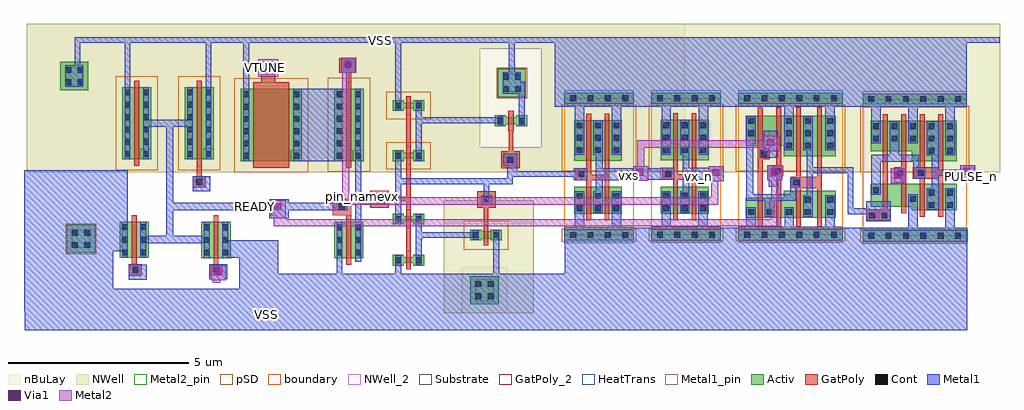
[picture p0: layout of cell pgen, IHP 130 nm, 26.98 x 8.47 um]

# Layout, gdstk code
from math import pi, radians
import gdstk
lib = gdstk.Library(unit=1e-6, precision=1e-09)
def R(c, l, rs):  # rectangles x0, y0, x1, y1
    for r in rs: c.add(gdstk.rectangle(r[:2], r[2:], *l))
def A(c, l, x, y, w, h, nx, ny, dx, dy):  # array of equal rectangles
    R(c, l, [(x+i*dx, y+j*dy, x+i*dx+w, y+j*dy+h) for i in range(nx) for j in range(ny)])
def P(c, l, *ps):  # polygons
    for p in ps: c.add(gdstk.Polygon(p, *l))
Activ = (1, 0)
GatPoly = (5, 0)
GatPoly_2 = (5, 2)
Cont = (6, 0)
Metal1 = (8, 0)
Metal1_pin = (8, 2)
Metal2 = (10, 0)
Metal2_pin = (10, 2)
pSD = (14, 0)
Via1 = (19, 0)
NWell = (31, 0)
NWell_2 = (31, 2)
nBuLay = (32, 0)
Substrate = (40, 0)
HeatTrans = (51, 0)
boundary = (189, 4)

pmos = lib.new_cell('pmos')
R(pmos, Activ, [(0,0,0.3,0.3), (0,0,0.81,2), (0.51,0,0.81,0.3)])
R(pmos, GatPoly, [(0.34,-0.18,0.47,2.18), (0.34,-0.18,0.47,2.18)])
A(pmos, Cont, 0.07, 0.07, 0.16, 0.16, 1, 6, 0, 0.34)
A(pmos, Cont, 0.58, 0.07, 0.16, 0.16, 1, 6, 0, 0.34)
R(pmos, Metal1, [(0.07,0,0.23,2), (0.07,0,0.23,2), (0.58,0,0.74,2), (0.58,0,0.74,2)])
R(pmos, pSD, [(-0.18,-0.3,0.99,2.3)])
R(pmos, NWell, [(-0.31,-0.31,1.12,2.31)])
R(pmos, Substrate, [(0.51,0,0.81,0.3)])
R(pmos, HeatTrans, [(0.34,-0.18,0.47,2.18)])
pmos.add(gdstk.Label('pmos', (0.405,1), layer=63, texttype=0))
pmos.add(gdstk.Label('pmos', (0.405,1), layer=51, texttype=0))

nmos = lib.new_cell('nmos')
R(nmos, Activ, [(0,0,0.3,0.3), (0,0,0.81,1), (0.51,0,0.81,0.3)])
R(nmos, GatPoly, [(0.34,-0.18,0.47,1.18)])
R(nmos, GatPoly_2, [(0.34,-0.18,0.47,1.18)])
A(nmos, Cont, 0.07, 0.07, 0.16, 0.16, 1, 3, 0, 0.35)
A(nmos, Cont, 0.58, 0.07, 0.16, 0.16, 1, 3, 0, 0.35)
R(nmos, Metal1, [(0.07,0,0.23,1), (0.58,0,0.74,1)])
R(nmos, Metal1_pin, [(0.07,0,0.23,1), (0.58,0,0.74,1)])
R(nmos, HeatTrans, [(0.34,-0.18,0.47,1.18)])
nmos.add(gdstk.Label('nmos', (0.405,0.5), layer=63, texttype=0))
nmos.add(gdstk.Label('nmos', (0.405,0.5), layer=51, texttype=0))

pmos_2 = lib.new_cell('pmos$2')
R(pmos_2, Activ, [(0,0,0.3,0.3), (0.57,0,0.87,0.3), (0,0.075,0.87,0.225)])
R(pmos_2, GatPoly, [(0.37,-0.105,0.5,0.405), (0.37,-0.105,0.5,0.405)])
R(pmos_2, Cont, [(0.07,0.07,0.23,0.23), (0.64,0.07,0.8,0.23)])
R(pmos_2, Metal1, [(0.07,0.02,0.23,0.28), (0.07,0.02,0.23,0.28), (0.64,0.02,0.8,0.28), (0.64,0.02,0.8,0.28)])
R(pmos_2, pSD, [(-0.18,-0.225,1.05,0.525)])
R(pmos_2, NWell, [(-0.31,-0.31,1.18,0.61)])
R(pmos_2, Substrate, [(0.57,0,0.87,0.3)])
R(pmos_2, HeatTrans, [(0.37,-0.105,0.5,0.405)])
pmos_2.add(gdstk.Label('pmos', (0.435,0.15), layer=63, texttype=0))
pmos_2.add(gdstk.Label('pmos', (0.435,0.15), layer=51, texttype=0))

nmos_1 = lib.new_cell('nmos$1')
R(nmos_1, Activ, [(0,0,0.3,0.3), (0.57,0,0.87,0.3), (0,0.075,0.87,0.225)])
R(nmos_1, GatPoly, [(0.37,-0.105,0.5,0.405)])
R(nmos_1, GatPoly_2, [(0.37,-0.105,0.5,0.405)])
R(nmos_1, Cont, [(0.07,0.07,0.23,0.23), (0.64,0.07,0.8,0.23)])
R(nmos_1, Metal1, [(0.07,0.02,0.23,0.28), (0.64,0.02,0.8,0.28)])
R(nmos_1, Metal1_pin, [(0.07,0.02,0.23,0.28), (0.64,0.02,0.8,0.28)])
R(nmos_1, HeatTrans, [(0.37,-0.105,0.5,0.405)])
nmos_1.add(gdstk.Label('nmos', (0.435,0.15), layer=63, texttype=0))
nmos_1.add(gdstk.Label('nmos', (0.435,0.15), layer=51, texttype=0))

sg13g2_and2_2 = lib.new_cell('sg13g2_and2_2')
R(sg13g2_and2_2, Activ, [(0,-0.15,2.88,0.15), (0,3.63,2.88,3.93)])
P(sg13g2_and2_2, Activ, [(1.355,0.7),(1.355,0.8),(0.225,0.8),(0.225,1.44),(2.605,1.44),(2.605,0.7)],
  [(1.355,2.06),(1.355,2.34),(0.225,2.34),(0.225,3.18),(2.605,3.18),(2.605,2.06)])
P(sg13g2_and2_2, GatPoly, [(1.585,0.52),(1.585,1.57),(1.385,1.57),(1.385,1.9),(1.585,1.9),(1.585,3.36),(1.715,3.36),(1.715,1.9),(2.095,1.9),(2.095,3.36),(2.225,3.36),(2.225,0.52),(2.095,0.52),(2.095,1.57),(1.715,1.57),(1.715,0.52)],
  [(0.105,0.41),(0.105,0.73),(0.565,0.73),(0.565,3.36),(0.695,3.36),(0.695,0.73),(0.775,0.73),(0.775,0.41)],
  [(1.075,0.62),(1.075,1.57),(0.875,1.57),(0.875,1.9),(1.075,1.9),(1.075,3.36),(1.205,3.36),(1.205,0.62)])
A(sg13g2_and2_2, Cont, 0.16, -0.08, 0.16, 0.16, 6, 1, 0.48, 0)
A(sg13g2_and2_2, Cont, 0.295, 2.61, 0.16, 0.16, 5, 2, 0.51, 0.34)
A(sg13g2_and2_2, Cont, 1.6, 3.7, 0.16, 0.16, 3, 1, 0.48, 0)
R(sg13g2_and2_2, Cont, [(0.19,0.48,0.35,0.64), (0.53,0.48,0.69,0.64), (1.825,0.77,1.985,0.93), (2.335,0.77,2.495,0.93), (1.315,0.935,1.475,1.095), (1.825,1.11,1.985,1.27), (2.335,1.11,2.495,1.27), (0.295,1.18,0.455,1.34), (0.96,1.655,1.12,1.815), (1.53,1.655,1.69,1.815), (1.825,2.27,1.985,2.43), (2.335,2.27,2.495,2.43), (0.16,3.7,0.32,3.86), (0.16,3.7,0.32,3.86), (0.16,3.7,0.32,3.86), (0.64,3.7,0.8,3.86), (0.64,3.7,0.8,3.86), (1.12,3.7,1.28,3.86), (1.12,3.7,1.28,3.86), (1.6,3.7,1.76,3.86)])
R(sg13g2_and2_2, Metal1, [(0.105,0.405,0.78,0.96), (0.78,1.47,1.17,1.87)])
P(sg13g2_and2_2, Metal1, [(1.775,0.72),(1.775,1.32),(1.92,1.32),(1.92,2.22),(1.775,2.22),(1.775,3.16),(2.105,3.16),(2.105,0.72)],
  [(0,-0.22),(0,0.22),(1.265,0.22),(1.265,1.145),(1.525,1.145),(1.525,0.22),(2.285,0.22),(2.285,1.32),(2.545,1.32),(2.545,0.22),(2.88,0.22),(2.88,-0.22)],
  [(0.245,1.14),(0.245,2.24),(0.755,2.24),(0.755,3.16),(1.015,3.16),(1.015,2.24),(1.56,2.24),(1.56,1.9),(1.74,1.9),(1.74,1.57),(1.4,1.57),(1.4,2.05),(0.505,2.05),(0.505,1.14)],
  [(2.285,2.22),(2.285,3.56),(1.525,3.56),(1.525,2.56),(1.265,2.56),(1.265,3.56),(0.505,3.56),(0.505,2.56),(0.245,2.56),(0.245,3.56),(0,3.56),(0,4),(2.88,4),(2.88,3.56),(2.545,3.56),(2.545,2.22)])
R(sg13g2_and2_2, Metal1_pin, [(0,-0.22,2.88,0.22), (0.105,0.405,0.78,0.96), (0.78,1.47,1.17,1.87), (1.775,2.22,2.105,3.16), (0,3.56,2.88,4)])
R(sg13g2_and2_2, pSD, [(-0.07,-0.18,2.91,0.18), (-0.07,1.76,2.95,3.6)])
R(sg13g2_and2_2, NWell, [(-0.24,1.75,0.72,4.17), (-0.24,1.75,2.64,4.17), (2.16,1.75,3.12,4.17)])
R(sg13g2_and2_2, boundary, [(0,0,2.88,3.78)])
sg13g2_and2_2.add(gdstk.Label('X', (1.995,2.73), layer=8, texttype=25))
sg13g2_and2_2.add(gdstk.Label('VSS', (1.18,0), layer=8, texttype=25))
sg13g2_and2_2.add(gdstk.Label('VDD', (1.275,3.78), layer=8, texttype=25))
sg13g2_and2_2.add(gdstk.Label('B', (0.98,1.655), layer=8, texttype=25))
sg13g2_and2_2.add(gdstk.Label('A', (0.465,0.745), layer=8, texttype=25))

sg13g2_or2_2 = lib.new_cell('sg13g2_or2_2')
R(sg13g2_or2_2, Activ, [(0,-0.15,2.88,0.15), (0,3.63,2.88,3.93)])
P(sg13g2_or2_2, Activ, [(1.25,2.18),(1.25,2.46),(0.2,2.46),(0.2,3.3),(2.685,3.3),(2.685,2.18)],
  [(0.2,0.48),(0.2,1.03),(1.255,1.03),(1.255,1.22),(2.685,1.22),(2.685,0.48)])
P(sg13g2_or2_2, GatPoly, [(1.05,0.22),(1.05,1.615),(0.935,1.615),(0.935,1.915),(1.05,1.915),(1.05,3.525),(1.18,3.525),(1.18,1.915),(1.235,1.915),(1.235,1.615),(1.18,1.615),(1.18,0.22)],
  [(0.54,0.22),(0.54,3.52),(0.67,3.52),(0.67,2.39),(0.87,2.39),(0.87,2.09),(0.67,2.09),(0.67,0.22)],
  [(1.595,0.22),(1.595,1.3),(1.445,1.3),(1.445,1.6),(1.595,1.6),(1.595,3.53),(1.725,3.53),(1.725,1.6),(2.175,1.6),(2.175,3.53),(2.305,3.53),(2.305,0.22),(2.175,0.22),(2.175,1.29),(1.725,1.29),(1.725,0.22)])
A(sg13g2_or2_2, Cont, 0.16, -0.08, 0.16, 0.16, 6, 2, 0.48, 3.78)
A(sg13g2_or2_2, Cont, 1.32, 2.39, 0.16, 0.16, 1, 3, 0, 0.34)
A(sg13g2_or2_2, Cont, 1.84, 2.39, 0.16, 0.16, 1, 3, 0, 0.34)
A(sg13g2_or2_2, Cont, 2.455, 2.39, 0.16, 0.16, 1, 3, 0, 0.34)
R(sg13g2_or2_2, Cont, [(0.27,0.55,0.43,0.71), (0.78,0.55,0.94,0.71), (1.325,0.55,1.485,0.71), (1.835,0.55,1.995,0.71), (2.455,0.55,2.615,0.71), (1.835,0.89,1.995,1.05), (2.455,0.89,2.615,1.05), (1.515,1.37,1.675,1.53), (1.005,1.685,1.165,1.845), (0.635,2.16,0.795,2.32), (0.27,2.73,0.43,2.89), (0.27,3.07,0.43,3.23)])
P(sg13g2_or2_2, Metal1, [(1.785,0.5),(1.785,1.1),(1.885,1.1),(1.885,2.34),(1.79,2.34),(1.79,3.28),(2.05,3.28),(2.05,0.5)],
  [(0,-0.22),(0,0.22),(0.22,0.22),(0.22,0.76),(0.48,0.76),(0.48,0.22),(1.275,0.22),(1.275,0.76),(1.535,0.76),(1.535,0.22),(2.405,0.22),(2.405,1.1),(2.665,1.1),(2.665,0.22),(2.88,0.22),(2.88,-0.22)],
  [(0.84,1.335),(0.84,1.895),(1.215,1.895),(1.215,1.635),(1.085,1.635),(1.085,1.335)],
  [(0.73,0.5),(0.73,0.945),(0.22,0.945),(0.22,3.28),(0.48,3.28),(0.48,2.53),(0.405,2.53),(0.405,1.125),(1.425,1.125),(1.425,1.58),(1.705,1.58),(1.705,1.315),(1.595,1.315),(1.595,0.945),(0.99,0.945),(0.99,0.5)],
  [(0.585,2.13),(0.585,2.35),(0.84,2.35),(0.84,2.88),(1.085,2.88),(1.085,2.13)],
  [(1.27,2.34),(1.27,3.56),(0,3.56),(0,4),(2.88,4),(2.88,3.56),(2.665,3.56),(2.665,2.34),(2.405,2.34),(2.405,3.56),(1.53,3.56),(1.53,2.34)])
R(sg13g2_or2_2, Metal1_pin, [(0,-0.22,2.88,0.22), (0.84,1.335,1.085,1.895), (0.84,2.13,1.085,2.88), (1.79,2.34,2.05,3.28), (0,3.56,2.88,4)])
R(sg13g2_or2_2, pSD, [(-0.07,-0.18,2.95,0.18), (-0.07,1.76,2.95,3.6)])
R(sg13g2_or2_2, NWell, [(-0.24,1.75,3.12,4.17)])
R(sg13g2_or2_2, boundary, [(0,0,2.88,3.78)])
sg13g2_or2_2.add(gdstk.Label('B', (0.96,2.52), layer=8, texttype=25))
sg13g2_or2_2.add(gdstk.Label('VSS', (1.43,-0.005), layer=8, texttype=25))
sg13g2_or2_2.add(gdstk.Label('A', (0.96,1.68), layer=8, texttype=25))
sg13g2_or2_2.add(gdstk.Label('X', (1.92,2.52), layer=8, texttype=25))
sg13g2_or2_2.add(gdstk.Label('VDD', (1.435,3.78), layer=8, texttype=25))

sg13g2_inv_2 = lib.new_cell('sg13g2_inv_2')
R(sg13g2_inv_2, Activ, [(0,-0.15,1.92,0.15), (0.265,0.59,1.585,1.33), (0.265,2.06,1.59,3.18), (0,3.63,1.92,3.93)])
P(sg13g2_inv_2, GatPoly, [(0.605,0.41),(0.605,1.52),(0.305,1.52),(0.305,1.85),(0.605,1.85),(0.605,3.36),(0.735,3.36),(0.735,1.67),(1.115,1.67),(1.115,3.36),(1.245,3.36),(1.245,0.41),(1.115,0.41),(1.115,1.52),(0.735,1.52),(0.735,0.41)])
A(sg13g2_inv_2, Cont, 0.335, 0.66, 0.16, 0.16, 3, 2, 0.51, 0.34)
A(sg13g2_inv_2, Cont, 0.335, 2.27, 0.16, 0.16, 1, 3, 0, 0.34)
A(sg13g2_inv_2, Cont, 0.845, 2.27, 0.16, 0.16, 1, 3, 0, 0.34)
A(sg13g2_inv_2, Cont, 1.36, 2.27, 0.16, 0.16, 1, 3, 0, 0.34)
R(sg13g2_inv_2, Cont, [(0.16,-0.08,0.32,0.08), (0.16,-0.08,0.32,0.08), (0.64,-0.08,0.8,0.08), (0.64,-0.08,0.8,0.08), (1.12,-0.08,1.28,0.08), (1.12,-0.08,1.28,0.08), (1.6,-0.08,1.76,0.08), (1.6,-0.08,1.76,0.08), (0.39,1.605,0.55,1.765), (0.16,3.7,0.32,3.86), (0.16,3.7,0.32,3.86), (0.64,3.7,0.8,3.86), (0.64,3.7,0.8,3.86), (1.12,3.7,1.28,3.86), (1.12,3.7,1.28,3.86), (1.6,3.7,1.76,3.86), (1.6,3.7,1.76,3.86)])
R(sg13g2_inv_2, Metal1, [(0.255,1.52,0.635,1.85)])
P(sg13g2_inv_2, Metal1, [(0.285,2.22),(0.285,3.56),(0,3.56),(0,4),(1.92,4),(1.92,3.56),(1.57,3.56),(1.57,2.22),(1.31,2.22),(1.31,3.56),(0.545,3.56),(0.545,2.22)],
  [(0,-0.22),(0,0.22),(0.285,0.22),(0.285,1.21),(0.545,1.21),(0.545,0.22),(1.305,0.22),(1.305,1.21),(1.565,1.21),(1.565,0.22),(1.92,0.22),(1.92,-0.22)],
  [(0.795,0.61),(0.795,1.21),(0.87,1.21),(0.87,2.22),(0.795,2.22),(0.795,3.18),(1.055,3.18),(1.055,1.85),(1.59,1.85),(1.59,1.52),(1.055,1.52),(1.055,0.61)])
R(sg13g2_inv_2, Metal1_pin, [(0,-0.22,1.92,0.22), (0.255,1.52,0.635,1.85), (0.87,1.52,1.59,1.85), (0,3.56,1.92,4)])
R(sg13g2_inv_2, pSD, [(-0.07,-0.18,1.99,0.18), (-0.07,1.76,1.99,3.6)])
R(sg13g2_inv_2, NWell, [(-0.24,1.75,2.16,4.17)])
R(sg13g2_inv_2, boundary, [(0,0,1.92,3.78)])
sg13g2_inv_2.add(gdstk.Label('VSS', (0.89,0), layer=8, texttype=25))
sg13g2_inv_2.add(gdstk.Label('VDD', (0.935,3.785), layer=8, texttype=25))
sg13g2_inv_2.add(gdstk.Label('Y', (1.44,1.68), layer=8, texttype=25))
sg13g2_inv_2.add(gdstk.Label('A', (0.48,1.68), layer=8, texttype=25))

pmos_1 = lib.new_cell('pmos$1')
R(pmos_1, Activ, [(0,0,0.3,0.3), (0,0,1.68,2), (1.38,0,1.68,0.3)])
R(pmos_1, GatPoly, [(0.34,-0.18,1.34,2.18), (0.34,-0.18,1.34,2.18)])
A(pmos_1, Cont, 0.07, 0.07, 0.16, 0.16, 1, 6, 0, 0.34)
A(pmos_1, Cont, 1.45, 0.07, 0.16, 0.16, 1, 6, 0, 0.34)
R(pmos_1, Metal1, [(0.07,0,0.23,2), (0.07,0,0.23,2), (1.45,0,1.61,2), (1.45,0,1.61,2)])
R(pmos_1, pSD, [(-0.18,-0.3,1.86,2.3)])
R(pmos_1, NWell, [(-0.31,-0.31,1.99,2.31)])
R(pmos_1, Substrate, [(1.38,0,1.68,0.3)])
R(pmos_1, HeatTrans, [(0.34,-0.18,1.34,2.18)])
pmos_1.add(gdstk.Label('pmos', (0.84,1), layer=63, texttype=0))
pmos_1.add(gdstk.Label('pmos', (0.84,1), layer=51, texttype=0))

via_stack_1 = lib.new_cell('via_stack$1')
R(via_stack_1, Metal1, [(-0.145,-0.145,0.145,0.145)])
R(via_stack_1, Metal2, [(-0.145,-0.145,0.145,0.145)])
R(via_stack_1, Via1, [(-0.095,-0.095,0.095,0.095)])

pmos_3 = lib.new_cell('pmos$3')
R(pmos_3, Activ, [(0,0,0.3,0.3), (0.57,0,0.87,0.3), (0,0.05,0.87,0.25)])
R(pmos_3, GatPoly, [(0.37,-0.13,0.5,0.43), (0.37,-0.13,0.5,0.43)])
R(pmos_3, Cont, [(0.07,0.07,0.23,0.23), (0.64,0.07,0.8,0.23)])
R(pmos_3, Metal1, [(0.07,0.02,0.23,0.28), (0.07,0.02,0.23,0.28), (0.64,0.02,0.8,0.28), (0.64,0.02,0.8,0.28)])
R(pmos_3, pSD, [(-0.18,-0.25,1.05,0.55)])
R(pmos_3, NWell, [(-0.31,-0.31,1.18,0.61)])
R(pmos_3, Substrate, [(0.57,0,0.87,0.3)])
R(pmos_3, HeatTrans, [(0.37,-0.13,0.5,0.43)])
pmos_3.add(gdstk.Label('pmos', (0.435,0.15), layer=63, texttype=0))
pmos_3.add(gdstk.Label('pmos', (0.435,0.15), layer=51, texttype=0))

ntap1_1 = lib.new_cell('ntap1$1')
R(ntap1_1, Activ, [(0,0,0.78,0.78)])
R(ntap1_1, Cont, [(0.14,0.14,0.3,0.3), (0.48,0.14,0.64,0.3), (0.14,0.48,0.3,0.64), (0.48,0.48,0.64,0.64)])
R(ntap1_1, Metal1, [(0.14,0.09,0.64,0.69)])
R(ntap1_1, Metal1_pin, [(0.14,0.09,0.64,0.69), (0.14,0.14,0.64,0.64)])
R(ntap1_1, NWell, [(-0.24,-0.24,1.02,1.02), (0,0,0.78,0.78)])
R(ntap1_1, NWell_2, [(0,0,0.78,0.78)])
R(ntap1_1, nBuLay, [(-0.24,-0.24,1.02,1.02)])

ptap1_1 = lib.new_cell('ptap1$1')
R(ptap1_1, Activ, [(0,0,0.78,0.78)])
R(ptap1_1, Cont, [(0.14,0.14,0.3,0.3), (0.48,0.14,0.64,0.3), (0.14,0.48,0.3,0.64), (0.48,0.48,0.64,0.64)])
R(ptap1_1, Metal1, [(0.14,0.09,0.64,0.69), (0.14,0.14,0.64,0.64)])
R(ptap1_1, Metal1_pin, [(0.14,0.14,0.64,0.64)])
R(ptap1_1, pSD, [(-0.03,-0.03,0.81,0.81)])
R(ptap1_1, Substrate, [(0,0,0.78,0.78)])

nmos_3 = lib.new_cell('nmos$3')
R(nmos_3, Activ, [(0,0,0.3,0.3), (0.59,0,0.89,0.3), (0,0.05,0.89,0.25)])
R(nmos_3, GatPoly, [(0.37,-0.13,0.52,0.43)])
R(nmos_3, GatPoly_2, [(0.37,-0.13,0.52,0.43)])
R(nmos_3, Cont, [(0.07,0.07,0.23,0.23), (0.66,0.07,0.82,0.23)])
R(nmos_3, Metal1, [(0.07,0.02,0.23,0.28), (0.66,0.02,0.82,0.28)])
R(nmos_3, Metal1_pin, [(0.07,0.02,0.23,0.28), (0.66,0.02,0.82,0.28)])
R(nmos_3, HeatTrans, [(0.37,-0.13,0.52,0.43)])
nmos_3.add(gdstk.Label('nmos', (0.445,0.15), layer=63, texttype=0))
nmos_3.add(gdstk.Label('nmos', (0.445,0.15), layer=51, texttype=0))

ptap1_2 = lib.new_cell('ptap1$2')
R(ptap1_2, Activ, [(0,0,0.78,0.78)])
R(ptap1_2, Cont, [(0.14,0.14,0.3,0.3), (0.48,0.14,0.64,0.3), (0.14,0.48,0.3,0.64), (0.48,0.48,0.64,0.64)])
R(ptap1_2, Metal1, [(0.14,0.09,0.64,0.69), (0.14,0.14,0.64,0.64)])
R(ptap1_2, Metal1_pin, [(0.14,0.14,0.64,0.64)])
R(ptap1_2, pSD, [(-0.03,-0.03,0.81,0.81)])
R(ptap1_2, Substrate, [(0,0,0.78,0.78)])

pgen = lib.new_cell('pgen')
R(pgen, GatPoly, [(-5.13,3.13,-4.765,3.44), (-2.9,3.14,-2.535,3.45), (0.505,4.795,1.015,5.26), (4.51,5,5.02,5.465), (1.545,5.01,2.055,5.475), (-3.365,5.565,-3,5.875), (5.17,6.095,5.68,6.56), (-1.465,8.235,-1.08,9.05), (0.695,8.74,1.16,9.14), (-1.415,8.785,-1.215,8.98)])
R(pgen, Cont, [(-5.025,3.21,-4.865,3.37), (-2.795,3.22,-2.635,3.38), (0.675,4.955,0.835,5.115), (4.68,5.16,4.84,5.32), (1.715,5.17,1.875,5.33), (-3.26,5.645,-3.1,5.805), (5.34,6.255,5.5,6.415), (-1.36,8.805,-1.2,8.965), (0.845,8.865,1.005,9.025)])
R(pgen, Metal1, [(-2.08,2.64,-0.995,4.11), (-2.08,2.88,7.03,3.04), (-2.865,3.005,-2.455,3.415), (-5.13,3.02,-4.635,3.435), (-2.9,3.03,-2.405,3.445), (-2.905,3.04,-2.615,3.37), (-5.13,3.18,-4.81,3.43), (-2.9,3.19,-2.58,3.44), (-2.54,3.62,-1.185,4.11), (2.24,4.55,2.4,6.56), (-1.24,4.715,-0.705,5.245), (-1.2,4.8,-0.79,5.21), (4.61,5.095,4.915,5.355), (1.215,5.1,1.965,5.4), (-3.365,5.455,-2.87,5.87), (-3.365,5.615,-3.045,5.865), (15.94,5.685,16.35,6.095), (10.91,5.74,11.32,6.15), (8.815,5.745,9.225,6.155), (12.52,5.765,12.93,6.175), (10.87,5.775,11.16,6.105), (17.85,5.775,18.26,6.185), (5.435,5.875,5.605,6.165), (5.23,6.165,5.605,6.5), (-0.57,6.295,0.78,8.295), (2.81,6.31,2.97,7.955), (12.42,6.45,12.805,7.13), (-4.46,7.24,-3.455,7.44), (6.64,7.795,18.035,9.69), (-1.465,8.7,-1.08,9.055), (0.74,8.74,1.15,9.15), (-1.42,8.745,-1.175,8.995)])
P(pgen, Metal1, [(6.93,2.68),(6.93,4.45),(18.05,4.45),(18.05,3.445),(18.05,2.68)],
  [(-8.005,1.62),(-8.005,3.185),(-5.56,3.185),(-5.56,2.76),(-2.08,2.76),(-2.08,3.185),(18.05,3.185),(18.05,1.62)],
  [(-6.625,8.735),(-6.625,9.72),(18.945,9.72),(18.945,9.56),(-6.465,9.56),(-6.465,8.735)],
  [(-8.025,2.14),(-8.025,6.045),(-5.155,6.045),(-5.155,3.805),(-5.56,3.805),(-5.56,2.76),(-5.155,2.76),(-5.155,2.14)],
  [(2.81,3.44),(2.81,4.82),(2.97,4.82),(2.97,3.5),(2.895,3.5),(2.895,3.44)],
  [(-4.735,4.025),(-4.735,4.225),(-4.095,4.225),(-4.095,7.345),(-3.895,7.345),(-3.895,4.225),(-2.965,4.225),(-2.965,4.025)])
R(pgen, Metal1_pin, [(-1.375,1.985,-1.245,2.115), (-1.72,4.98,-1.59,5.11), (1.26,5.245,1.39,5.375), (10.56,5.8,10.69,5.93), (8.615,5.825,8.745,5.955)])
R(pgen, Metal2, [(-2.865,3.005,-2.45,3.415), (-0.995,4.63,-0.785,4.845), (-1.2,4.8,-0.785,5.21), (15.94,5.685,16.355,6.095), (10.91,5.74,11.325,6.15), (8.815,5.745,9.23,6.155), (12.52,5.765,12.935,5.975), (17.85,5.775,18.265,6.185), (12.39,6.565,12.86,7), (-1.545,8.63,-0.99,9.115), (-1.465,8.7,-1.08,9.055), (0.74,8.74,1.155,9.15)])
P(pgen, Metal2, [(12.629,5.805),(12.63,5.976),(12.83,5.974),(12.829,5.805)],
  [(12.52,5.765),(12.52,6.175),(12.935,6.175),(12.935,5.765),(12.885,5.765),(12.885,5.805),(12.58,5.805),(12.58,5.765)])
R(pgen, Metal2_pin, [(18.11,5.795,18.24,5.925), (-1.42,8.83,-1.29,8.96)])
R(pgen, NWell, [(3.58,2.085,6.06,5.215)])
P(pgen, NWell, [(-7.945,5.98),(-7.945,9.395),(4.585,9.395),(4.585,6.675),(6.275,6.675),(6.275,9.395),(-7.945,9.395),(-7.945,10.09),(18.955,10.09),(18.955,5.98)])
R(pgen, nBuLay, [(-7.945,5.98,10.245,10.09), (4.035,6.02,7.845,8.96)])
pgen.add(gdstk.FlexPath([(15.425,4.91),(14.825,4.91),(14.825,6.04),(13.7,6.04)], 0.16, ends="flush", simple_path=True, layer=8, datatype=0))  # Metal1
pgen.add(gdstk.FlexPath([(18.055,5.97),(17.15,5.97)], 0.16, ends="flush", simple_path=True, layer=8, datatype=0))  # Metal1
pgen.add(gdstk.FlexPath([(7.03,2.96),(7.64,2.96),(7.64,4.315)], 0.16, ends="flush", simple_path=True, layer=8, datatype=0))  # Metal1
pgen.add(gdstk.FlexPath([(8.505,5.94),(9.77,5.94)], 0.32, ends="flush", simple_path=True, layer=8, datatype=0))  # Metal1
pgen.add(gdstk.FlexPath([(4.465,4.25),(2.895,4.25)], 0.16, ends="flush", simple_path=True, layer=8, datatype=0))  # Metal1
pgen.add(gdstk.FlexPath([(5.03,4.17),(5.03,2.96)], 0.16, ends="flush", simple_path=True, layer=8, datatype=0))  # Metal1
pgen.add(gdstk.FlexPath([(5.735,7.43),(5.735,8.41),(5.415,8.41)], 0.16, ends="flush", simple_path=True, layer=8, datatype=0))  # Metal1
pgen.add(gdstk.FlexPath([(5.145,7.42),(2.88,7.42)], 0.16, ends="flush", simple_path=True, layer=8, datatype=0))  # Metal1
pgen.add(gdstk.FlexPath([(0.905,5.04),(-3.995,5.04),(-3.995,4.925),(-3.995,4.925)], 0.2, ends="flush", simple_path=True, layer=8, datatype=0))  # Metal1
pgen.add(gdstk.FlexPath([(5.46,8.34),(5.46,9.655)], 0.16, ends="flush", simple_path=True, layer=8, datatype=0))  # Metal1
pgen.add(gdstk.FlexPath([(2.315,5.74),(5.41,5.74),(5.41,6.415)], 0.16, ends="flush", simple_path=True, layer=8, datatype=0))  # Metal1
pgen.add(gdstk.FlexPath([(4.76,5.24),(4.76,5.74)], 0.16, ends="flush", simple_path=True, layer=8, datatype=0))  # Metal1
pgen.add(gdstk.FlexPath([(-5.165,8.27),(-5.165,9.61)], 0.16, ends="flush", simple_path=True, layer=8, datatype=0))  # Metal1
pgen.add(gdstk.FlexPath([(-1.88,8.22),(-1.88,9.64)], 0.16, ends="flush", simple_path=True, layer=8, datatype=0))  # Metal1
pgen.add(gdstk.FlexPath([(-2.925,8.11),(-2.925,9.72)], 0.16, ends="flush", simple_path=True, layer=8, datatype=0))  # Metal1
pgen.add(gdstk.FlexPath([(2.32,7.91),(2.32,9.655)], 0.16, ends="flush", simple_path=True, layer=8, datatype=0))  # Metal1
pgen.add(gdstk.FlexPath([(2.32,3.425),(2.32,3.035)], 0.16, ends="flush", simple_path=True, layer=8, datatype=0))  # Metal1
pgen.add(gdstk.FlexPath([(-6.445,4.155),(-5.225,4.155)], 0.16, ends="flush", simple_path=True, layer=8, datatype=0))  # Metal1
pgen.add(gdstk.FlexPath([(0.695,3.615),(0.695,2.945)], 0.16, ends="flush", simple_path=True, layer=8, datatype=0))  # Metal1
pgen.add(gdstk.FlexPath([(7.385,5.94),(5.41,5.94)], 0.16, ends="flush", simple_path=True, layer=8, datatype=0))  # Metal1
pgen.add(gdstk.FlexPath([(7.845,8.085),(7.845,9.64)], 0.16, ends="flush", simple_path=True, layer=8, datatype=0))  # Metal1
pgen.add(gdstk.FlexPath([(-4.46,7.34),(-4.67,7.34)], 0.2, ends="flush", simple_path=True, layer=8, datatype=0))  # Metal1
pgen.add(gdstk.FlexPath([(1.215,6.49),(1.215,3.78),(1.215,3.51)], 0.16, ends="flush", simple_path=True, layer=8, datatype=0))  # Metal1
pgen.add(gdstk.FlexPath([(12.58,5.09),(12.73,5.09),(12.73,6.055)], 0.2, ends="flush", simple_path=True, layer=10, datatype=0))  # Metal2
pgen.add(gdstk.FlexPath([(11.07,5.665),(11.07,5.19),(0.87,5.19),(0.87,8.715)], 0.2, ends="flush", simple_path=True, layer=10, datatype=0))  # Metal2
pgen.add(gdstk.FlexPath([(9.025,5.94),(9.025,6.765),(12.655,6.765)], 0.2, ends="flush", simple_path=True, layer=10, datatype=0))  # Metal2
pgen.add(gdstk.FlexPath([(11.07,5.665),(11.07,5.915)], 0.2, ends="flush", simple_path=True, layer=10, datatype=0))  # Metal2
pgen.add(gdstk.FlexPath([(0.87,8.715),(0.87,8.85)], 0.2, ends="flush", simple_path=True, layer=10, datatype=0))  # Metal2
pgen.add(gdstk.FlexPath([(12.73,5.125),(12.73,4.59),(-1.025,4.59),(-1.025,5.025)], 0.2, ends="flush", simple_path=True, layer=10, datatype=0))  # Metal2
pgen.add(gdstk.FlexPath([(-2.705,2.93),(-2.705,3.18)], 0.2, ends="flush", simple_path=True, layer=10, datatype=0))  # Metal2
pgen.add(gdstk.FlexPath([(0.955,8.475),(0.955,9.095)], 0.13, ends="flush", simple_path=True, layer=5, datatype=0))  # GatPoly
pgen.add(gdstk.FlexPath([(4.745,5.005),(4.745,4.455)], 0.13, ends="flush", simple_path=True, layer=5, datatype=0))  # GatPoly
pgen.add(gdstk.FlexPath([(5.44,6.56),(5.44,7.195)], 0.13, ends="flush", simple_path=True, layer=5, datatype=0))  # GatPoly
pgen.add(gdstk.FlexPath([(2.605,5.25),(1.74,5.25)], 0.13, ends="flush", simple_path=True, layer=5, datatype=0))  # GatPoly
pgen.add(gdstk.FlexPath([(2.605,8.085),(2.605,3.365),(2.62,3.365),(2.62,3.365)], 0.13, ends="flush", simple_path=True, layer=5, datatype=0))  # GatPoly
pgen.add(gdstk.FlexPath([(-3.18,6.16),(-3.18,5.78),(-3.165,5.78)], 0.13, ends="flush", simple_path=True, layer=5, datatype=0))  # GatPoly
pgen.add(gdstk.Reference(pmos, (-5.315,6.34)))
pgen.add(gdstk.Reference(nmos, (0.545,3.615)))
pgen.add(gdstk.Reference(pmos_2, (2.17,7.68)))
pgen.add(gdstk.Reference(nmos_1, (2.17,4.545)))
pgen.add(gdstk.Reference(nmos_1, (2.17,3.405)))
pgen.add(gdstk.Reference(pmos, (0.55,6.295)))
pgen.add(gdstk.Reference(sg13g2_and2_2, (15.155,4.23)))
pgen.add(gdstk.Reference(sg13g2_or2_2, (11.725,4.255)))
pgen.add(gdstk.Reference(sg13g2_inv_2, (9.315,4.255)))
pgen.add(gdstk.Reference(nmos, (-3.125,3.615)))
pgen.add(gdstk.Reference(nmos, (-5.385,3.62)))
pgen.add(gdstk.Reference(pmos_1, (-2.03,6.29)))
pgen.add(gdstk.Reference(pmos, (-3.585,6.34)))
pgen.add(gdstk.Reference(via_stack_1, (-1.28,8.885)))
pgen.add(gdstk.Reference(pmos_2, (2.17,6.295)))
pgen.add(gdstk.Reference(pmos_3, (4.31,4.1)))
pgen.add(gdstk.Reference(ntap1_1, (-7.025,8.255)))
pgen.add(gdstk.Reference(via_stack_1, (-1.01,5.04), rotation=pi))
pgen.add(gdstk.Reference(ntap1_1, (4.315,2.335)))
pgen.add(gdstk.Reference(ptap1_1, (5.07,8.065)))
pgen.add(gdstk.Reference(nmos_3, (5.885,7.56), rotation=pi))
pgen.add(gdstk.Reference(ptap1_2, (-6.84,3.755)))
pgen.add(gdstk.Reference(sg13g2_inv_2, (6.915,4.25)))
pgen.add(gdstk.Reference(via_stack_1, (12.71,6.005), rotation=pi))
pgen.add(gdstk.Reference(via_stack_1, (12.6,6.81), rotation=pi))
pgen.add(gdstk.Reference(via_stack_1, (11.1,5.98), rotation=pi))
pgen.add(gdstk.Reference(via_stack_1, (9.005,5.985), rotation=pi))
pgen.add(gdstk.Reference(via_stack_1, (16.13,5.925), rotation=pi))
pgen.add(gdstk.Reference(via_stack_1, (18.04,6.015), rotation=pi))
pgen.add(gdstk.Reference(via_stack_1, (0.93,8.98), rotation=pi))
pgen.add(gdstk.Reference(via_stack_1, (-2.675,3.245), rotation=pi))
pgen.add(gdstk.Label('READY', (-1.66,5.05), layer=8, texttype=25))
pgen.add(gdstk.Label('pin_namevx', (1.325,5.31), layer=8, texttype=25))
pgen.add(gdstk.Label('vxs', (8.68,5.89), layer=8, texttype=25))
pgen.add(gdstk.Label('vx_n', (10.625,5.865), layer=8, texttype=25))
pgen.add(gdstk.Label('VSS', (-1.31,2.05), layer=8, texttype=25))
pgen.add(gdstk.Label('VSS', (1.84,9.635), layer=8, texttype=25))
pgen.add(gdstk.Label('VTUNE', (-1.355,8.895), layer=10, texttype=25))
pgen.add(gdstk.Label('PULSE_n', (18.175,5.86), layer=10, texttype=25))

lib.write_gds('pgen.gds')
